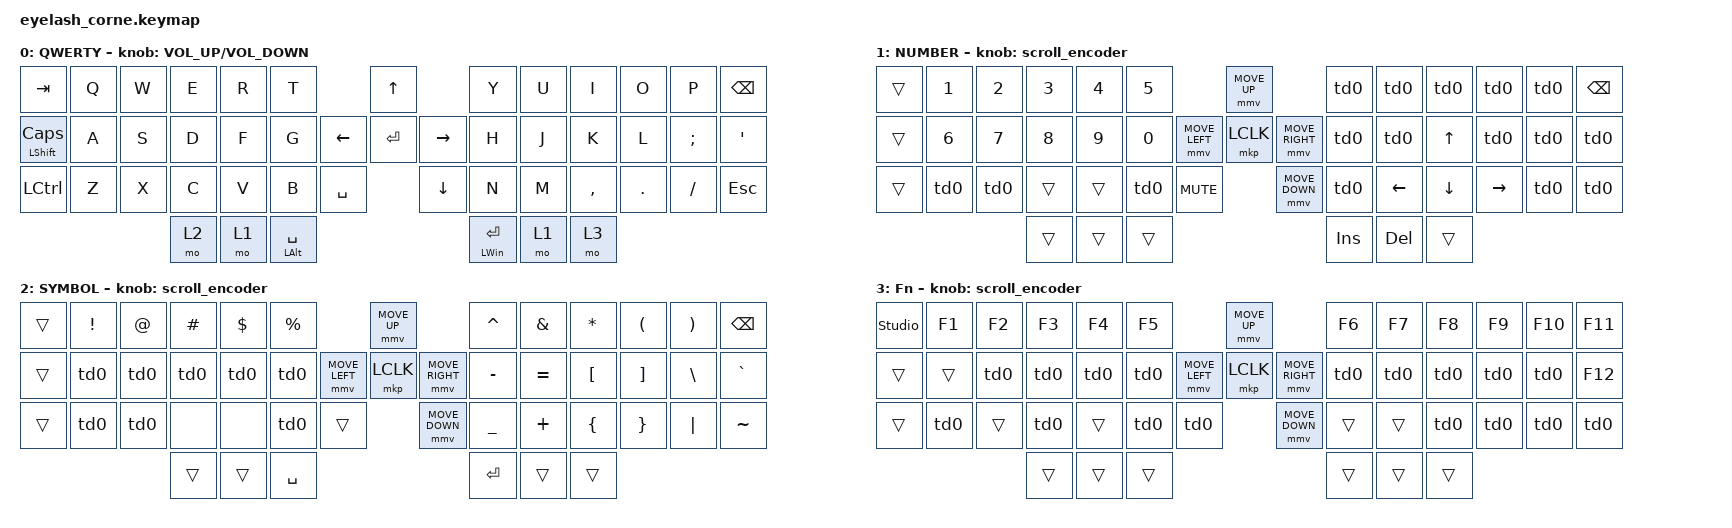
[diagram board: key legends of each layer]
#define ZMK_POINTING_DEFAULT_MOVE_VAL 1200  // 600
#define ZMK_POINTING_DEFAULT_SCRL_VAL 25   // 10

#include <input/processors.dtsi>
#include <zephyr/dt-bindings/input/input-event-codes.h>
#include <behaviors.dtsi>
#include <dt-bindings/zmk/keys.h>
#include <dt-bindings/zmk/pointing.h>
#include <dt-bindings/zmk/rgb.h>

&mmv_input_listener { input-processors = <&zip_xy_scaler 2 1>; };

&msc_input_listener { input-processors = <&zip_scroll_scaler 2 1>; };

&msc {
    acceleration-exponent = <1>;      // 0
    time-to-max-speed-ms = <100>;       // 300
    delay-ms = <0>;                   // 0
};

&mmv {
    time-to-max-speed-ms = <500>;
    acceleration-exponent = <1>;
    trigger-period-ms = <16>;
};

&soft_off { hold-time-ms = <2000>; };

/ {
    behaviors {
        td0: td0 {
            compatible = "zmk,behavior-tap-dance";
            display-name = "Shift/Caps Lock Tap Dance";
            #binding-cells = <0>;
            bindings = <&kp LEFT_SHIFT>, <&kp CAPS>;
        };
    };

    rgb_encoder: rgb_encoder {
        compatible = "zmk,behavior-sensor-rotate";
        #sensor-binding-cells = <0>;
        bindings = <&rgb_ug RGB_BRI>, <&rgb_ug RGB_BRD>;
    };

    scroll_encoder: scroll_encoder {
        compatible = "zmk,behavior-sensor-rotate";
        #sensor-binding-cells = <0>;
        bindings = <&msc SCRL_DOWN>, <&msc SCRL_UP>;

        tap-ms = <100>;
    };

    combos {
        compatible = "zmk,combos";

        softoff {
            bindings = <&soft_off>;
            key-positions = <1 15 29>;
        };
    };

    keymap {
        compatible = "zmk,keymap";

        default_layer {
            display-name = "QWERTY";
            bindings = <
&kp TAB                  &kp Q  &kp W  &kp E  &kp R  &kp T                                  &kp UP                &kp Y               &kp U  &kp I      &kp O    &kp P     &kp BSPC
&mt LEFT_SHIFT CAPSLOCK  &kp A  &kp S  &kp D  &kp F  &kp G                        &kp LEFT  &kp ENTER  &kp RIGHT  &kp H               &kp J  &kp K      &kp L    &kp SEMI  &kp SQT
&kp LCTRL                &kp Z  &kp X  &kp C  &kp V  &kp B           &kp SPACE              &kp DOWN              &kp N               &kp M  &kp COMMA  &kp DOT  &kp FSLH  &kp ESC
                                       &mo 2  &mo 1  &mt LALT SPACE                                               &mt LEFT_WIN ENTER  &mo 1  &mo 3
            >;

            sensor-bindings = <&inc_dec_kp C_VOLUME_UP C_VOLUME_DOWN>;
        };

        lower_layer {
            display-name = "NUMBER";
            bindings = <
&trans  &kp N1        &kp N2        &kp N3        &kp N4        &kp N5                                      &mmv MOVE_UP                     &td0     &td0      &td0            &td0       &td0  &kp BSPC
&trans  &kp NUMBER_6  &kp NUMBER_7  &kp NUMBER_8  &kp NUMBER_9  &kp NUMBER_0                &mmv MOVE_LEFT  &mkp LCLK       &mmv MOVE_RIGHT  &td0     &td0      &kp UP          &td0       &td0  &td0
&trans  &td0          &td0          &trans        &trans        &td0          &kp C_MUTE                    &mmv MOVE_DOWN                   &td0     &kp LEFT  &kp DOWN_ARROW  &kp RIGHT  &td0  &td0
                                    &trans        &trans        &trans                                                                       &kp INS  &kp DEL   &trans
            >;

            sensor-bindings = <&scroll_encoder>;
        };

        raise_layer {
            display-name = "SYMBOL";
            bindings = <
&trans  &kp EXCL  &kp AT  &kp HASH  &kp DLLR  &kp PRCNT                            &mmv MOVE_UP                     &kp CARET  &kp AMPS   &kp ASTRK  &kp LPAR  &kp RPAR  &kp BSPC
&trans  &td0      &td0    &td0      &td0      &td0                 &mmv MOVE_LEFT  &mkp LCLK       &mmv MOVE_RIGHT  &kp MINUS  &kp EQUAL  &kp LBKT   &kp RBKT  &kp BSLH  &kp GRAVE
&trans  &td0      &td0    &none     &none     &td0       &trans                    &mmv MOVE_DOWN                   &kp UNDER  &kp PLUS   &kp LBRC   &kp RBRC  &kp PIPE  &kp TILDE
                          &trans    &trans    &kp SPACE                                                             &kp RET    &trans     &trans
            >;

            sensor-bindings = <&scroll_encoder>;
        };

        layer_3 {
            display-name = "Fn";
            bindings = <
&studio_unlock  &kp F1  &kp F2  &kp F3  &kp F4  &kp F5                          &mmv MOVE_UP                     &kp F6  &kp F7  &kp F8  &kp F9  &kp F10  &kp F11
&trans          &trans  &td0    &td0    &td0    &td0            &mmv MOVE_LEFT  &mkp LCLK       &mmv MOVE_RIGHT  &td0    &td0    &td0    &td0    &td0     &kp F12
&trans          &td0    &trans  &td0    &trans  &td0    &td0                    &mmv MOVE_DOWN                   &trans  &trans  &td0    &td0    &td0     &td0
                                &trans  &trans  &trans                                                           &trans  &trans  &trans
            >;

            sensor-bindings = <&scroll_encoder>;
        };
    };
};
